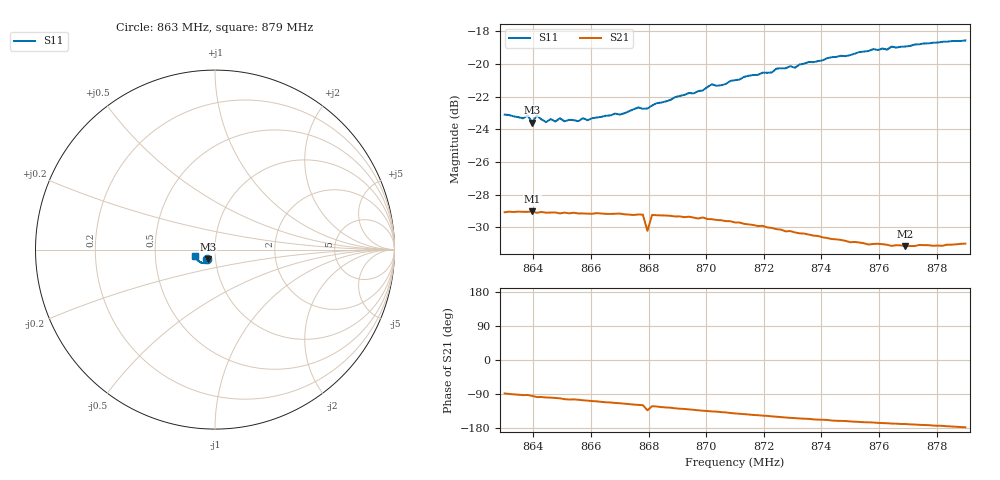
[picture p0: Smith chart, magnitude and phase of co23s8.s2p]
# HZ S RI R 50
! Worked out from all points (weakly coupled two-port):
!   101 points, 863 MHz to 879 MHz, reference 50 ohm
!   highest |S21| = -29.02 dB at 863.96 MHz (marker M1); lowest = -31.1 dB at 876.92 MHz (marker M2)
!   lowest |S11| = -23.6 dB at 863.96 MHz (marker M3), VSWR 1.14, Z = 46 - j4.93 ohm
!   |S11| at or under -10 dB: start of sweep to end of sweep
!   S12 and S22 are empty: the file has one direction only
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8.63e8  -0.0437 -0.0548  0.00105 -0.0352  0 0  0 0
8.6364e8  -0.0417 -0.054  -0.00168 -0.0353  0 0  0 0
8.638e8  -0.0429 -0.0549  -0.00149 -0.0353  0 0  0 0
8.6396e8  -0.0393 -0.0533  -0.00289 -0.0353  0 0  0 0
8.6412e8  -0.0427 -0.0551  -0.00479 -0.0347  0 0  0 0
8.6444e8  -0.0414 -0.052  -0.00545 -0.0347  0 0  0 0
8.6492e8  -0.0408 -0.0547  -0.00675 -0.0343  0 0  0 0
8.6556e8  -0.0355 -0.0567  -0.00897 -0.0337  0 0  0 0
8.6572e8  -0.0349 -0.0588  -0.0098 -0.0335  0 0  0 0
8.6588e8  -0.0343 -0.058  -0.0103 -0.0333  0 0  0 0
8.678e8  -0.0351 -0.064  -0.0169 -0.0302  0 0  0 0
8.6796e8  -0.0354 -0.064  -0.0209 -0.0227  0 0  0 0
8.6812e8  -0.0352 -0.0659  -0.0182 -0.0293  0 0  0 0
8.6844e8  -0.0365 -0.067  -0.0194 -0.0285  0 0  0 0
8.6988e8  -0.0409 -0.0723  -0.0235 -0.0245  0 0  0 0
8.702e8  -0.0442 -0.0746  -0.024 -0.0234  0 0  0 0
8.7052e8  -0.0454 -0.0733  -0.0246 -0.0225  0 0  0 0
8.71e8  -0.0498 -0.0741  -0.0254 -0.0206  0 0  0 0
8.7372e8  -0.0688 -0.0745  -0.0274 -0.0118  0 0  0 0
8.7644e8  -0.095 -0.0616  -0.0271 -0.00591  0 0  0 0
8.7692e8  -0.0974 -0.0577  -0.0272 -0.00534  0 0  0 0
8.79e8  -0.1119 -0.0379  -0.0282 -0.00117  0 0  0 0
